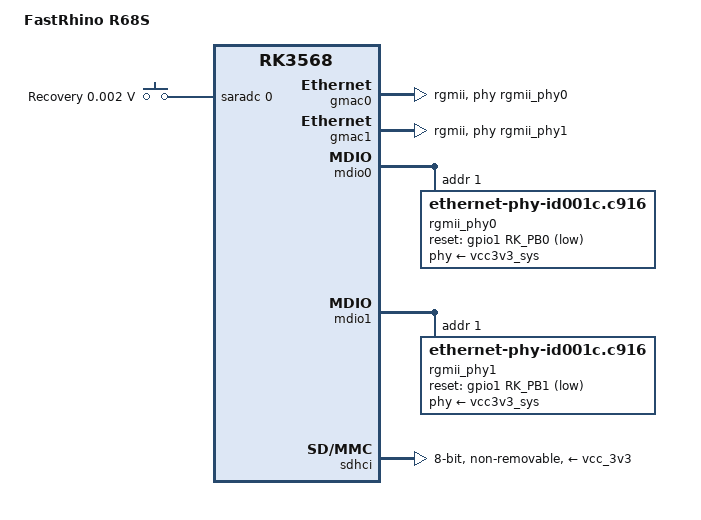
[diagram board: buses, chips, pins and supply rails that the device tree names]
// SPDX-License-Identifier: GPL-2.0-or-later OR MIT

#include "rk3568-fastrhino-r66s.dtsi"

/ {
	model = "FastRhino R68S";
	compatible = "fastrhino,r68s", "rockchip,rk3568";

	aliases {
		ethernet0 = &gmac0;
		ethernet1 = &gmac1;
		mmc0 = &sdhci;
	};

	adc-keys {
		compatible = "adc-keys";
		io-channels = <&saradc 0>;
		io-channel-names = "buttons";
		keyup-threshold-microvolt = <1800000>;

		button-recovery {
			label = "Recovery";
			linux,code = <KEY_VENDOR>;
			press-threshold-microvolt = <1750>;
		};
	};
};

&gmac0 {
	assigned-clocks = <&cru SCLK_GMAC0_RX_TX>, <&cru SCLK_GMAC0>;
	assigned-clock-parents = <&cru SCLK_GMAC0_RGMII_SPEED>,<&cru CLK_MAC0_2TOP>;
	assigned-clock-rates = <0>, <125000000>;
	clock_in_out = "output";
	label = "eth0";
	phy-handle = <&rgmii_phy0>;
	phy-mode = "rgmii";
	pinctrl-names = "default";
	pinctrl-0 = <&gmac0_miim
		     &gmac0_tx_bus2
		     &gmac0_rx_bus2
		     &gmac0_rgmii_clk
		     &gmac0_rgmii_bus>;
	tx_delay = <0x39>;
	rx_delay = <0x2d>;
	status = "okay";
};

&gmac1 {
	assigned-clocks = <&cru SCLK_GMAC1_RX_TX>, <&cru SCLK_GMAC1>;
	assigned-clock-parents = <&cru SCLK_GMAC1_RGMII_SPEED>, <&cru CLK_MAC1_2TOP>;
	assigned-clock-rates = <0>, <125000000>;
	label = "eth1";
	clock_in_out = "output";
	phy-handle = <&rgmii_phy1>;
	phy-mode = "rgmii";
	pinctrl-names = "default";
	pinctrl-0 = <&gmac1m1_miim
		     &gmac1m1_tx_bus2
		     &gmac1m1_rx_bus2
		     &gmac1m1_rgmii_clk
		     &gmac1m1_rgmii_bus>;
	tx_delay = <0x43>;
	rx_delay = <0x28>;
	status = "okay";
};

&mdio0 {
	rgmii_phy0: ethernet-phy@1 {
		compatible = "ethernet-phy-id001c.c916";
		phy-supply = <&vcc3v3_sys>;
		reg = <0x1>;

		/*
		 * RTL8211F Custom LED Mode B
		 * LED1 (Green):  Link 10/100/1000
		 * LED2 (Yellow): Active 10/100/1000
		 */
		realtek,led-data = <0xc160>;

		pinctrl-0 = <&eth_phy0_reset_pin>;
		pinctrl-names = "default";
		reset-assert-us = <20000>;
		reset-deassert-us = <100000>;
		reset-gpios = <&gpio1 RK_PB0 GPIO_ACTIVE_LOW>;
	};
};

&mdio1 {
	rgmii_phy1: ethernet-phy@1 {
		compatible = "ethernet-phy-id001c.c916";
		phy-supply = <&vcc3v3_sys>;
		reg = <0x1>;

		/*
		 * RTL8211F Custom LED Mode B
		 * LED1 (Green):  Link 10/100/1000
		 * LED2 (Yellow): Active 10/100/1000
		 */
		realtek,led-data = <0xc160>;

		pinctrl-0 = <&eth_phy1_reset_pin>;
		pinctrl-names = "default";
		reset-assert-us = <20000>;
		reset-deassert-us = <100000>;
		reset-gpios = <&gpio1 RK_PB1 GPIO_ACTIVE_LOW>;
	};
};

&pinctrl {
	gmac0 {
		eth_phy0_reset_pin: eth-phy0-reset-pin {
			rockchip,pins = <1 RK_PB0 RK_FUNC_GPIO &pcfg_pull_up>;
		};
	};

	gmac1 {
		eth_phy1_reset_pin: eth-phy1-reset-pin {
			rockchip,pins = <1 RK_PB1 RK_FUNC_GPIO &pcfg_pull_up>;
		};
	};
};

&pmu_io_domains {
	vccio3-supply = <&vcc_3v3>;
};

&sdhci {
	bus-width = <8>;
	max-frequency = <200000000>;
	mmc-ddr-1_8v;
	mmc-hs200-1_8v;
	non-removable;
	pinctrl-names = "default";
	pinctrl-0 = <&emmc_bus8 &emmc_clk &emmc_cmd &emmc_datastrobe>;
	vmmc-supply = <&vcc_3v3>;
	vqmmc-supply = <&vcc_1v8>;
	status = "okay";
};

&rtl8125_1 {
	label = "eth3";
};

&rtl8125_2 {
	label = "eth2";
};
